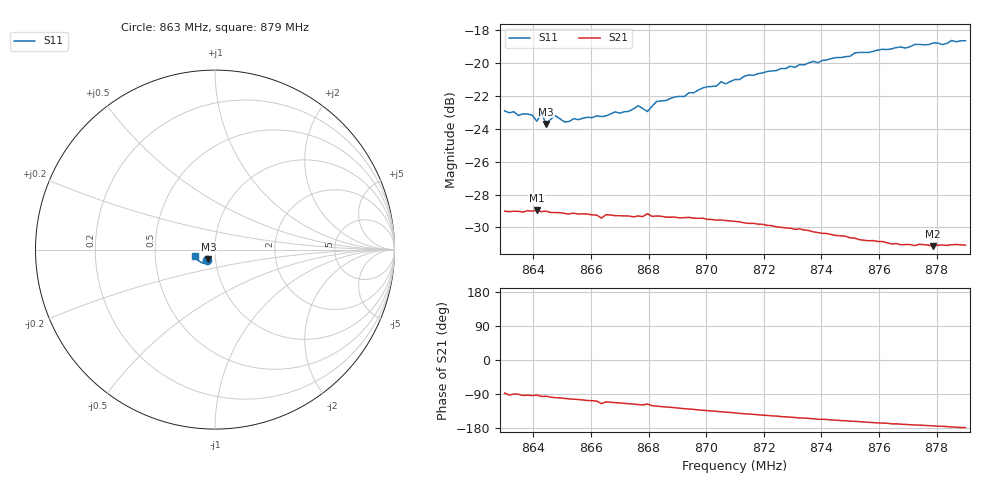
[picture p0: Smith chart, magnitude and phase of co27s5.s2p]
# HZ S RI R 50
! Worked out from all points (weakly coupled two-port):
!   101 points, 863 MHz to 879 MHz, reference 50 ohm
!   highest |S21| = -28.96 dB at 864.12 MHz (marker M1); lowest = -31.1 dB at 877.88 MHz (marker M2)
!   lowest |S11| = -23.7 dB at 864.44 MHz (marker M3), VSWR 1.14, Z = 46.2 - j5.03 ohm
!   |S11| at or under -10 dB: start of sweep to end of sweep
!   S12 and S22 are empty: the file has one direction only
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8.63e8  -0.0453 -0.0554  0.00171 -0.0354  0 0  0 0
8.6348e8  -0.0427 -0.0546  -0.000175 -0.0354  0 0  0 0
8.6396e8  -0.0424 -0.0551  -0.00239 -0.0353  0 0  0 0
8.6412e8  -0.0374 -0.0551  -0.00162 -0.0356  0 0  0 0
8.6428e8  -0.0418 -0.0567  -0.0038 -0.0351  0 0  0 0
8.6444e8  -0.0366 -0.0541  -0.00338 -0.0353  0 0  0 0
8.6476e8  -0.0395 -0.0568  -0.00573 -0.0346  0 0  0 0
8.6508e8  -0.0358 -0.0557  -0.00682 -0.0342  0 0  0 0
8.6572e8  -0.0349 -0.0584  -0.0093 -0.0335  0 0  0 0
8.6636e8  -0.0352 -0.0591  -0.0144 -0.0305  0 0  0 0
8.6652e8  -0.0342 -0.06  -0.0122 -0.0324  0 0  0 0
8.6732e8  -0.0347 -0.0624  -0.0147 -0.0309  0 0  0 0
8.6764e8  -0.0372 -0.0642  -0.0159 -0.0303  0 0  0 0
8.6796e8  -0.0327 -0.0633  -0.0152 -0.0313  0 0  0 0
8.6828e8  -0.0371 -0.0669  -0.0179 -0.0292  0 0  0 0
8.6844e8  -0.0374 -0.0671  -0.0186 -0.0287  0 0  0 0
8.6924e8  -0.0395 -0.0686  -0.021 -0.0265  0 0  0 0
8.71e8  -0.0497 -0.0741  -0.025 -0.0215  0 0  0 0
8.7372e8  -0.0699 -0.0734  -0.0278 -0.0128  0 0  0 0
8.7644e8  -0.0928 -0.0602  -0.0276 -0.00568  0 0  0 0
8.7788e8  -0.1051 -0.0471  -0.0275 -0.00309  0 0  0 0
8.79e8  -0.1106 -0.0384  -0.0279 -0.000795  0 0  0 0
